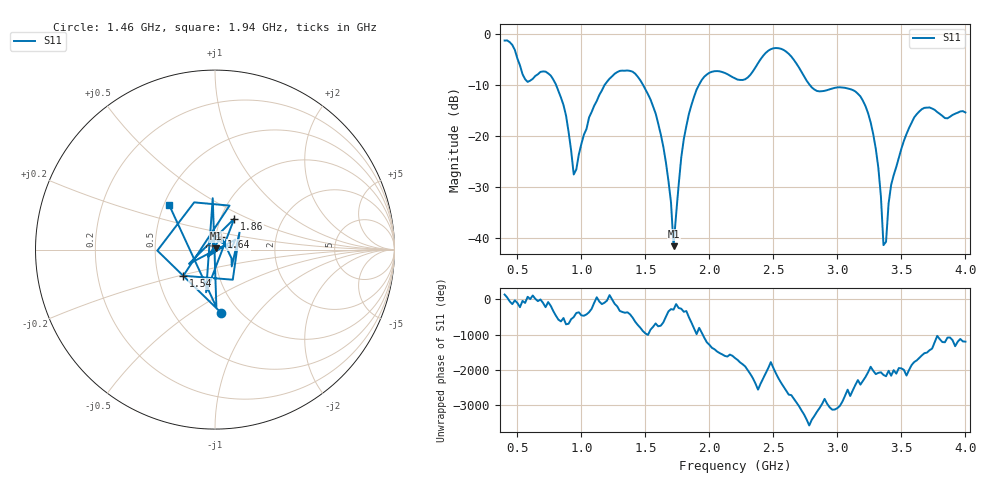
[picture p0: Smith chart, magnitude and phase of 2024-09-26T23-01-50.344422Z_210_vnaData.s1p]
!Created with skrf (http://scikit-rf.org).
# Hz S RI R 50.0
!freq ReS11 ImS11
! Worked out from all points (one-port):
!   181 points, 400 MHz to 4 GHz, reference 50 ohm
!   lowest |S11| = -41.7 dB at 1.72 GHz (marker M1), VSWR 1.02, Z = 50.3 + j0.764 ohm
!   |S11| at or under -10 dB: 802.9 MHz to 1.18 GHz (377.2 MHz wide, 38 % of centre); 1.483 GHz to 1.917 GHz (434.5 MHz wide, 25.6 % of centre); 2.786 GHz to end of sweep
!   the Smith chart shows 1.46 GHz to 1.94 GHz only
!   S11 on the Smith chart (normalised r, x): 1.46 GHz: 0.83, -0.67; 1.54 GHz: 0.67, -0.21; 1.64 GHz: 1.06, +0.15; 1.86 GHz: 1.16, +0.42; 1.94 GHz: 0.53, +0.30
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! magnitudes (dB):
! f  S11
! 400 MHz  -1.2
! 560 MHz  -8.8
! 720 MHz  -7.3
! 860 MHz  -13.9
! 940 MHz  -27.6
! 1.1 GHz  -14.0
! 1.3 GHz  -7.2
! 1.46 GHz  -9.0
! 1.54 GHz  -12.8
! 1.64 GHz  -22.1
! 1.7 GHz  -33.1
! 1.72 GHz  -41.7
! 1.76 GHz  -29.6
! 1.86 GHz  -13.9
! 1.94 GHz  -9.0
! 2.2 GHz  -8.7
! 2.5 GHz  -2.7
! 2.66 GHz  -5.0
! 2.84 GHz  -11.1
! 3.1 GHz  -10.8
! 3.28 GHz  -19.6
! 3.32 GHz  -26.3
! 3.36 GHz  -41.5
! 3.38 GHz  -40.8
! 3.42 GHz  -29.6
! 3.56 GHz  -18.4
! 3.68 GHz  -14.4
! 4 GHz  -15.4
